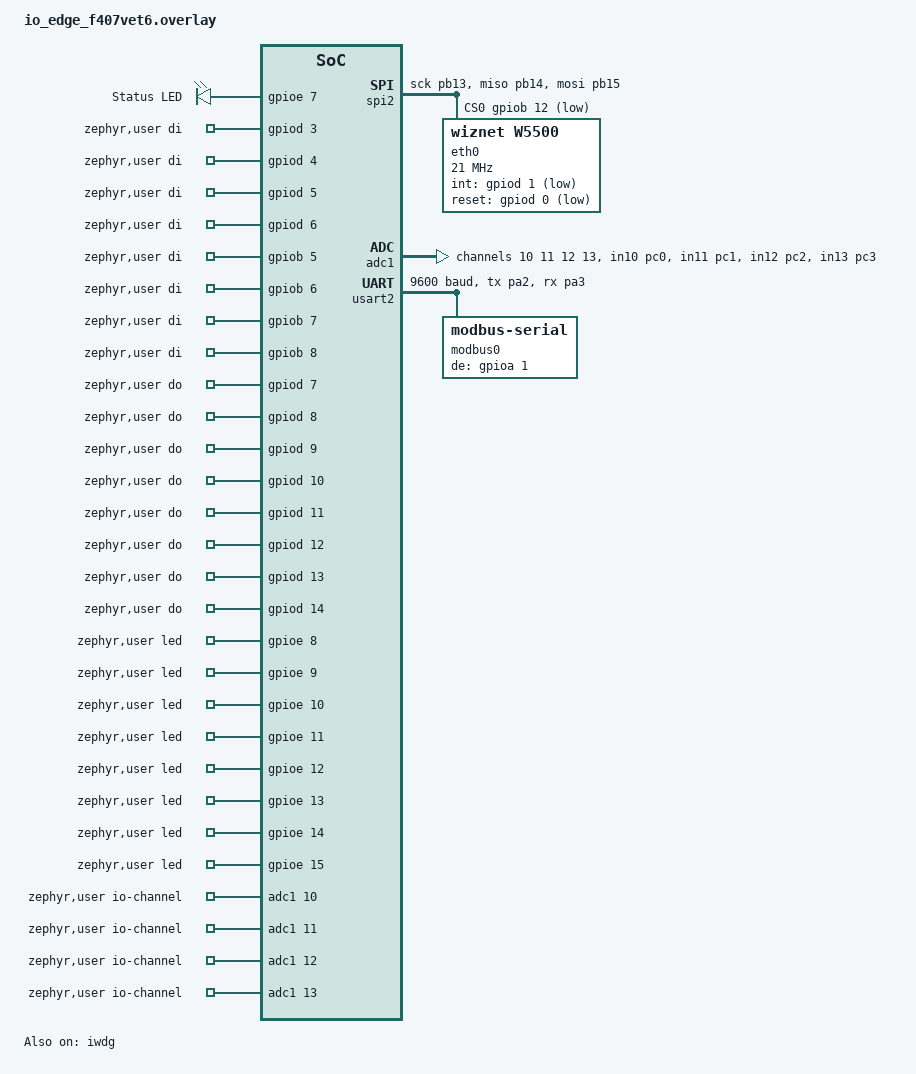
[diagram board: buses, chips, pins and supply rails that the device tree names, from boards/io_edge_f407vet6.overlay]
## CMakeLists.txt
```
# SPDX-License-Identifier: Apache-2.0

cmake_minimum_required(VERSION 3.20.0)

find_package(Zephyr REQUIRED HINTS $ENV{ZEPHYR_BASE})
project(io_edge_hub)

target_include_directories(app PRIVATE include src/sys src/storage src/ftp_server src/web)

target_sources(app PRIVATE
  src/main.c
  src/fw_upgrade_state.c
  src/io/dio.c
  src/io/adc.c
  src/history/history.c
  src/settings/init.c
  src/modbus/function.c
  src/modbus/tcp.c
  src/modbus/rtu.c
  src/udp.c
  src/can.c
  src/storage/fs_littlefs.c
  src/sys/time.c
  src/sys/watchdog.c
  src/ftp_server/ftpd.c
)

# 临时带宽测试端点: 仅在 CONFIG_IO_BW_TEST 启用时编译
target_sources_ifdef(CONFIG_IO_BW_TEST app PRIVATE src/bwtest.c)

# 应用调试 shell (io 命令), 依赖 SHELL (release 下自动裁剪)
target_sources_ifdef(CONFIG_IO_SHELL app PRIVATE src/shell.c)

# Web 服务 (HTTP 页面 + REST + WebSocket), CONFIG_IO_WEB 总开关
if(CONFIG_IO_WEB)
  target_sources(app PRIVATE
    src/web/httpd.c
    src/web/ws_io.c
  )

  # Web UI: index.html → minify → gzip → .inc (编译进固件, HTTP 静态资源)
  set(gen_dir ${ZEPHYR_BINARY_DIR}/include/generated)
  set(min_html ${CMAKE_CURRENT_BINARY_DIR}/web_index_min.html)

  add_custom_command(OUTPUT ${min_html}
    COMMAND ${PYTHON_EXECUTABLE} ${CMAKE_CURRENT_SOURCE_DIR}/scripts/minify_html.py
            ${CMAKE_CURRENT_SOURCE_DIR}/src/web/index.html > ${min_html}
    DEPENDS ${CMAKE_CURRENT_SOURCE_DIR}/src/web/index.html
            ${CMAKE_CURRENT_SOURCE_DIR}/scripts/minify_html.py
    COMMENT "Minifying index.html"
  )
  add_custom_target(web_index_min DEPENDS ${min_html})

  generate_inc_file_for_target(app
    ${min_html}
    ${gen_dir}/web_index_html_gz.inc
    --gzip
  )

  # HTTP 资源描述 iterable section (服务 io_web 对应的链接段)
  zephyr_linker_sources(SECTIONS src/web/sections-rom.ld)
endif()
```

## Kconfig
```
# SPDX-License-Identifier: Apache-2.0
# io-edge-hub application configuration

mainmenu "io-edge-hub"

source "Kconfig.zephyr"

# ==================== Modbus 寄存器数量 ====================
config MODBUS_HOLDING_REGISTER_NUMBERS
	int "Number of Modbus holding registers"
	default 18
	help
	  Size of the holding_reg[] array (18 holding registers, see init.h).

config MODBUS_INPUT_REGISTER_NUMBERS
	int "Number of Modbus input registers"
	default 6

# ==================== 线程栈 / 优先级 ====================
config IO_DI_STACK_SIZE
	int "DI sampling thread stack size"
	default 512

config IO_DI_PRIORITY
	int "DI sampling thread priority"
	default 2

config IO_ADC_STACK_SIZE
	int "AI sampling thread stack size"
	default 512

config IO_ADC_PRIORITY
	int "AI sampling thread priority"
	default 2

config IO_MODBUS_TCP_STACK
	int "Modbus TCP server thread stack size"
	default 2048

config IO_MODBUS_TCP_PRIORITY
	int "Modbus TCP server thread priority"
	default 13

config IO_MODBUS_TCP_SESSION_TIMEOUT
	bool "Close idle Modbus TCP client sessions"
	default n
	help
	  Enable application-level session timeout: client connections
	  idle for more than 60s are closed by the server. Disabled by
	  default; idle connections are then only handled by TCP
	  keepalive (SO_KEEPALIVE, ~45s probe cycle). Enable only if a
	  master misbehaves and holds connections without keepalive
	  support.

config IO_FTP_STACK_SIZE
	int "FTP server thread stack size"
	default 4096

config IO_FTP_PRIORITY
	int "FTP server thread priority"
	default 13

# ==================== SYS_INIT 优先级 ====================
config IO_INIT_PRIORITY_SETTINGS
	int "Settings subsystem init priority"
	default 8

config IO_INIT_PRIORITY_CAN
	int "CAN app handler init priority"
	default 10

config IO_INIT_PRIORITY_DIO
	int "Digital IO init priority"
	default 12

config IO_INIT_PRIORITY_ADC
	int "ADC init priority"
	default 12

config IO_INIT_PRIORITY_RTU
	int "Modbus RTU init priority"
	default 13

config IO_INIT_PRIORITY_CLOCK
	int "RTC clock init priority"
	default 41

config IO_INIT_PRIORITY_WATCHDOG
	int "Watchdog init priority"
	default 50

config IO_INIT_PRIORITY_WS
	int "WebSocket slots init priority"
	default 60

config IO_INIT_PRIORITY_UDP
	int "UDP app handler init priority"
	default 80

config IO_INIT_PRIORITY_LITTLEFS
	int "LittleFS init priority"
	default 99

config IO_INIT_PRIORITY_HIST_WORKQ
	int "History work queue init priority"
	default 5

config IO_INIT_PRIORITY_FW_UPGRADE
	int "Firmware upgrade mutex init priority"
	default 3

# ==================== Web 服务 (HTTP + WebSocket) ====================
menuconfig IO_WEB
	bool "Enable web UI (HTTP server + REST API + WebSocket)"
	default y
	select HTTP_SERVER
	select HTTP_SERVER_WEBSOCKET
	help
	  Web management interface: embedded SPA page, REST API
	  (/api/*), WebSocket realtime push (/ws) and HTTP firmware
	  upgrade. Disable to shrink image/RAM (~100KB flash, ~30KB RAM).

if IO_WEB

config IO_WEB_PORT
	int "Web server HTTP port"
	default 80
	help
	  HTTP server listen port for the web UI and REST API.

config IO_WEB_WS_HANDLERS
	int "Number of concurrent WebSocket connections"
	default 1
	range 1 2
	help
	  Note the HTTP server websocket resource uses one shared parsing
	  buffer, so concurrent connections must be limited to 1.

config IO_WEB_WS_STACK_SIZE
	int "WebSocket handler thread stack size"
	default 2048
	help
	  websocket_send_msg/recv_msg call chain is deep (PSA SHA-1,
	  TCP retry). 1152 causes stack canary fault -> warm reboot.

# ---- Zephyr HTTP 服务器参数覆盖 (默认值偏大, 按本应用裁剪省 RAM) ----

config HTTP_SERVER_VERSION_1
	default y

config HTTP_SERVER_VERSION_2
	default n

config HTTP_SERVER_MAX_CLIENTS
	default 4

config HTTP_SERVER_MAX_STREAMS
	default 1

config HTTP_SERVER_HUFFMAN_DECODE_BUFFER_SIZE
	default 64

config HTTP_SERVER_CLIENT_BUFFER_SIZE
	default 512

config HTTP_SERVER_CLIENT_INACTIVITY_TIMEOUT
	default 120

config HTTP_SERVER_STACK_SIZE
	default 4096

config HTTP_SERVER_MAX_URL_LENGTH
	default 96

config HTTP_SERVER_MAX_CONTENT_TYPE_LENGTH
	default 48

endif # IO_WEB

# ==================== 应用调试 shell ====================
config IO_SHELL
	bool "Enable 'io' application shell commands"
	depends on SHELL
	default y
	help
	  Debug shell (root command 'io') for DI/DO/AI inspection,
	  DO control, RS485/CAN/IP configuration, register access and
	  basic device info. Writes share the same code path as
	  Modbus/Web/UDP. Automatically disabled in release builds
	  (CONFIG_SHELL=n).

# ==================== 带宽测试 (临时, 测完移除) ====================
config IO_BW_TEST
	bool "Enable temporary TCP echo bandwidth test endpoint"
	default n
	help
	  Temporary raw-TCP throughput measurement (echo on port 9900).
	  For measurement only, no auth; remove after use.

config IO_BW_TEST_PORT
	int "BW test TCP port"
	default 9900
	depends on IO_BW_TEST
```

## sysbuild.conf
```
SB_CONFIG_BOOTLOADER_MCUBOOT=y

# MCUboot 升级模式: SWAP_SCRATCH (支持回滚, 与 n2e-gw / angle-handler 一致)
SB_CONFIG_MCUBOOT_MODE_SWAP_SCRATCH=y

# 签名密钥 (每个应用独立 RSA-2048)
SB_CONFIG_BOOT_SIGNATURE_KEY_FILE="${APP_DIR}/boards/${BOARD}.pem"
SB_CONFIG_BOOT_SIGNATURE_TYPE_RSA=y
```

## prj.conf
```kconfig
# ==================== 基础配置 ====================
CONFIG_MAIN_STACK_SIZE=2048
CONFIG_HEAP_MEM_POOL_SIZE=16384
CONFIG_MULTITHREADING=y
CONFIG_SYSTEM_WORKQUEUE_STACK_SIZE=2048
CONFIG_POSIX_API=y

# ==================== 硬件驱动 ====================
CONFIG_GPIO=y
CONFIG_ADC=y
CONFIG_ADC_STM32=y
CONFIG_SPI=y
CONFIG_SPI_STM32=y
CONFIG_FLASH=y
CONFIG_FLASH_MAP=y
CONFIG_SPI_NOR=y
CONFIG_CAN=y
CONFIG_CAN_STM32_BXCAN=y
CONFIG_CLOCK_CONTROL=y
CONFIG_HWINFO=y

# ==================== 文件系统 ====================
CONFIG_FILE_SYSTEM=y
CONFIG_FILE_SYSTEM_LITTLEFS=y
CONFIG_FILE_SYSTEM_MKFS=y
CONFIG_FS_LITTLEFS_NUM_FILES=4
CONFIG_FS_LITTLEFS_NUM_DIRS=4
CONFIG_FS_LITTLEFS_CACHE_SIZE=1024

# ==================== 参数持久化 (settings + FCB, 直接映射 holding_reg) ====================
CONFIG_SETTINGS=y
CONFIG_SETTINGS_RUNTIME=y
CONFIG_FCB=y

# ==================== 网络 (静态 IP, 无 DHCP) ====================
CONFIG_NETWORKING=y
CONFIG_NET_IPV4=y
CONFIG_NET_IPV6=n
CONFIG_NET_TCP=y
CONFIG_NET_UDP=y
CONFIG_NET_SOCKETS=y
CONFIG_NET_MAX_CONN=20
CONFIG_NET_MAX_CONTEXTS=20
CONFIG_ZVFS_POLL_MAX=20
# ===== 网络缓冲 (带宽测试调大) =====
CONFIG_NET_PKT_RX_COUNT=16
CONFIG_NET_PKT_TX_COUNT=16
CONFIG_NET_BUF_RX_COUNT=16
CONFIG_NET_BUF_TX_COUNT=16
CONFIG_NET_BUF_DATA_SIZE=1024
CONFIG_NET_PKT_DTCM=y
CONFIG_NET_CONNECTION_MANAGER=y
CONFIG_NET_MGMT=y
CONFIG_NET_MGMT_EVENT=y
CONFIG_NET_MGMT_EVENT_STACK_SIZE=1024
CONFIG_NET_L2_ETHERNET=y
CONFIG_NET_ARP=y
# W5500 由设备树 wiznet,w5500 节点自动拉起, 无需显式 CONFIG_ETH_W5500

# 静态 IP: 禁 DHCP, 禁自动启动 (允许 net_if_up 前设 MAC)
CONFIG_NET_DHCPV4=n
CONFIG_ETH_NET_IF_NO_AUTO_START=y
CONFIG_NET_L2_ETHERNET_MGMT=y
CONFIG_ENTROPY_GENERATOR=y

# ==================== Modbus (RAW ADU TCP + RTU) ====================
CONFIG_MODBUS=y
CONFIG_MODBUS_ROLE_SERVER=y
CONFIG_MODBUS_RAW_ADU=y
CONFIG_MODBUS_NUMOF_RAW_ADU=1

# TCP Keepalive 检测主站连接存活 (取代应用层心跳):
# 空闲 30s 后每 5s 发探测, 连续 3 次无响应则判定连接断开
CONFIG_NET_TCP_KEEPALIVE=y
CONFIG_NET_TCP_KEEPIDLE_DEFAULT=30
CONFIG_NET_TCP_KEEPINTVL_DEFAULT=5
CONFIG_NET_TCP_KEEPCNT_DEFAULT=3

# ==================== Web 服务 (HTTP 页面 + REST API + WebSocket) ====================
# 总开关: y 时编译 web 相关代码 (页面/API/WS/HTTP 升级), n 时完全不编
# (省约 63KB Flash + 25KB RAM)。固件升级仍可用 UDP/CAN 通道。
CONFIG_IO_WEB=y

# ==================== 固件升级 (共享库, SYS_INIT 自启动) ====================
CONFIG_UDP_FW_UPGRADE=y
CONFIG_UDP_FW_CONFIG_PORT=8600
CONFIG_UDP_FW_DATA_V2_CHUNK=1400
# RX 线程内会调 settings_save() (NVS/flash 驱动链), 1024 会栈溢出
CONFIG_UDP_FW_RX_STACK_SIZE=2048
CONFIG_UDP_FW_RX_PRIORITY=1
CONFIG_UDP_FW_UPGRADE_MAX_HANDLERS=4
CONFIG_UDP_FW_REPLY_BCAST_RESTRICT=y

CONFIG_CAN_FW_UPGRADE=y
CONFIG_CAN_FW_UPGRADE_BITRATE=250000
CONFIG_CAN_FW_UPGRADE_RX_STACK_SIZE=2048
CONFIG_CAN_FW_UPGRADE_RX_PRIORITY=1
CONFIG_CAN_FW_UPGRADE_MAX_HANDLERS=4

CONFIG_IMG_MANAGER=y
CONFIG_STREAM_FLASH=y
CONFIG_REBOOT=y
CONFIG_CRC=y

# ==================== MCUboot ====================
CONFIG_BOOTLOADER_MCUBOOT=y
CONFIG_MCUBOOT_IMG_MANAGER=y

# ==================== 时间同步 (RTC) ====================
CONFIG_RTC=y
CONFIG_RTC_STM32=y

# ==================== 看门狗 ====================
CONFIG_WATCHDOG=y

# ==================== 日志 ====================
CONFIG_LOG=y
CONFIG_LOG_BUFFER_SIZE=4096
CONFIG_LOG_DEFAULT_LEVEL=3
CONFIG_LOG_TIMESTAMP_USE_REALTIME=y
CONFIG_POSIX_C_LANG_SUPPORT_R=y
CONFIG_LOG_OUTPUT_FORMAT_DATE_TIMESTAMP=y
CONFIG_LOG_OUTPUT_TIMEZONE_OFFSET=8

# ==================== 调试 ====================
CONFIG_THREAD_NAME=y
CONFIG_THREAD_MONITOR=y
CONFIG_THREAD_STACK_INFO=y
CONFIG_SHELL=y
CONFIG_SHELL_BACKEND_SERIAL=y
CONFIG_SHELL_VT100_COLORS=y
CONFIG_SHELL_TAB=y
CONFIG_NET_SHELL=y
CONFIG_FLASH_SHELL=y
CONFIG_FLASH_MAP_SHELL=y
CONFIG_RTC_SHELL=y
CONFIG_SETTINGS_SHELL=y
CONFIG_FAULT_DUMP=2
```

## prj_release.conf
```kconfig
# io-edge-hub 发布模式配置 (替换 prj.conf: -DCONF_FILE=prj_release.conf)
# 关闭 LOG/SHELL/调试, 精简网络缓冲, 减小镜像体积。功能配置与 prj.conf 一致。

# ==================== 基础配置 ====================
CONFIG_MAIN_STACK_SIZE=2048
CONFIG_HEAP_MEM_POOL_SIZE=16384
CONFIG_MULTITHREADING=y
CONFIG_SYSTEM_WORKQUEUE_STACK_SIZE=2048
CONFIG_POSIX_API=y
CONFIG_COMMON_LIBC_MALLOC_ARENA_SIZE=0

# ==================== 硬件驱动 ====================
CONFIG_GPIO=y
CONFIG_ADC=y
CONFIG_ADC_STM32=y
CONFIG_SPI=y
CONFIG_SPI_STM32=y
CONFIG_FLASH=y
CONFIG_FLASH_MAP=y
CONFIG_SPI_NOR=y
CONFIG_CAN=y
CONFIG_CAN_STM32_BXCAN=y
CONFIG_CLOCK_CONTROL=y
CONFIG_HWINFO=y

# ==================== 文件系统 ====================
CONFIG_FILE_SYSTEM=y
CONFIG_FILE_SYSTEM_LITTLEFS=y
CONFIG_FILE_SYSTEM_MKFS=y
CONFIG_FS_LITTLEFS_NUM_FILES=4
CONFIG_FS_LITTLEFS_NUM_DIRS=4
CONFIG_FS_LITTLEFS_CACHE_SIZE=1024

# ==================== 参数持久化 ====================
CONFIG_SETTINGS=y
CONFIG_SETTINGS_RUNTIME=y
CONFIG_FCB=y

# ==================== 网络 (静态 IP, 无 DHCP) ====================
CONFIG_NETWORKING=y
CONFIG_NET_IPV4=y
CONFIG_NET_IPV6=n
CONFIG_NET_TCP=y
CONFIG_NET_UDP=y
CONFIG_NET_SOCKETS=y
CONFIG_NET_MAX_CONN=20
CONFIG_NET_MAX_CONTEXTS=20
CONFIG_ZVFS_POLL_MAX=20
CONFIG_NET_PKT_RX_COUNT=8
CONFIG_NET_PKT_TX_COUNT=8
CONFIG_NET_BUF_RX_COUNT=12
CONFIG_NET_BUF_TX_COUNT=12
CONFIG_NET_BUF_DATA_SIZE=256
CONFIG_NET_PKT_DTCM=y
CONFIG_NET_CONNECTION_MANAGER=y
CONFIG_NET_MGMT=y
CONFIG_NET_MGMT_EVENT=y
CONFIG_NET_MGMT_EVENT_STACK_SIZE=1024
CONFIG_NET_L2_ETHERNET=y
CONFIG_NET_ARP=y
CONFIG_NET_DHCPV4=n
CONFIG_ETH_NET_IF_NO_AUTO_START=y
CONFIG_NET_L2_ETHERNET_MGMT=y
CONFIG_ENTROPY_GENERATOR=y

# ==================== Modbus (RAW ADU TCP + RTU) ====================
CONFIG_MODBUS=y
CONFIG_MODBUS_ROLE_SERVER=y
CONFIG_MODBUS_RAW_ADU=y
CONFIG_MODBUS_NUMOF_RAW_ADU=1

# ==================== Web 服务 (HTTP 页面 + REST API + WebSocket) ====================
CONFIG_IO_WEB=n

# TCP Keepalive 检测主站连接存活 (取代应用层心跳):
# 空闲 30s 后每 5s 发探测, 连续 3 次无响应则判定连接断开
CONFIG_NET_TCP_KEEPALIVE=y
CONFIG_NET_TCP_KEEPIDLE_DEFAULT=30
CONFIG_NET_TCP_KEEPINTVL_DEFAULT=5
CONFIG_NET_TCP_KEEPCNT_DEFAULT=3

# ==================== 固件升级 (共享库) ====================
CONFIG_UDP_FW_UPGRADE=y
CONFIG_UDP_FW_CONFIG_PORT=8600
CONFIG_UDP_FW_RX_STACK_SIZE=1024
CONFIG_UDP_FW_RX_PRIORITY=8
CONFIG_UDP_FW_UPGRADE_MAX_HANDLERS=4
CONFIG_UDP_FW_REPLY_BCAST_RESTRICT=y

CONFIG_CAN_FW_UPGRADE=y
CONFIG_CAN_FW_UPGRADE_BITRATE=250000
CONFIG_CAN_FW_UPGRADE_RX_STACK_SIZE=1024
CONFIG_CAN_FW_UPGRADE_RX_PRIORITY=8
CONFIG_CAN_FW_UPGRADE_MAX_HANDLERS=4

CONFIG_IMG_MANAGER=y
CONFIG_STREAM_FLASH=y
CONFIG_REBOOT=y
CONFIG_CRC=y

# ==================== MCUboot ====================
CONFIG_BOOTLOADER_MCUBOOT=y
CONFIG_MCUBOOT_IMG_MANAGER=y

# ==================== 时间同步 (RTC) ====================
CONFIG_RTC=y
CONFIG_RTC_STM32=y

# ==================== 看门狗 ====================
CONFIG_WATCHDOG=y

# ==================== 发布裁剪 ====================
CONFIG_LOG=n
CONFIG_SHELL=n
CONFIG_THREAD_MONITOR=n
CONFIG_THREAD_NAME=y
CONFIG_THREAD_STACK_INFO=y
CONFIG_FAULT_DUMP=1
```

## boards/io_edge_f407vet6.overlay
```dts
/*
 * io_edge_hub application overlay
 *
 * 应用专属外设 (板 DTS 仅含 MCUboot 共需的 clock/console/flash 分区):
 *   - SPI2 + W5500 以太网 (PB13/14/15, CS=PB12, RST=PD0, INT=PD1)
 *   - ADC1 四通道 (PC0-PC3, IN10-13): AI1/AI2 电流, AI3/AI4 电压
 *   - USART2 + RS485 Modbus RTU (PA2/PA3, DE=PA1)
 *   - CAN1 (PA11/PA12)
 *   - 16 路 DI / 8 路 DO / 8 路 LED (zephyr,user 节点)
 *   - RTC (LSI 驱动) / IWDG 看门狗 / 状态 LED (PE7)
 */

#include <zephyr/dt-bindings/gpio/gpio.h>
#include <zephyr/dt-bindings/adc/adc.h>

/ {
	chosen {
		zephyr,ethernet = &eth0;
		zephyr,entropy = &rng;
		zephyr,settings-partition = &storage_partition;
	};

	aliases {
		led0 = &status_led;
		mcuboot-led0 = &status_led;
		watchdog0 = &iwdg;
	};

	gpio-leds {
		compatible = "gpio-leds";
		/* 状态 LED: MCUboot 引导指示 + 主循环心跳 (PE7, 兼作 ETH 状态) */
		status_led: led_status {
			gpios = <&gpioe 7 GPIO_ACTIVE_HIGH>;
			label = "Status LED";
		};
	};

	zephyr,user {
		/* 16 路 DI (光耦隔离输入, 下拉)
		 * DI1-16: PD3,PD4,PD5,PD6,PB5,PB6,PB7,PB8,
		 *         PB9,PB10,PB11,PD2,PB0,PB1,PB3,PB4
		 */
		di-gpios = <&gpiod 3 (GPIO_ACTIVE_HIGH | GPIO_PULL_DOWN)>,
			   <&gpiod 4 (GPIO_ACTIVE_HIGH | GPIO_PULL_DOWN)>,
			   <&gpiod 5 (GPIO_ACTIVE_HIGH | GPIO_PULL_DOWN)>,
			   <&gpiod 6 (GPIO_ACTIVE_HIGH | GPIO_PULL_DOWN)>,
			   <&gpiob 5 (GPIO_ACTIVE_HIGH | GPIO_PULL_DOWN)>,
			   <&gpiob 6 (GPIO_ACTIVE_HIGH | GPIO_PULL_DOWN)>,
			   <&gpiob 7 (GPIO_ACTIVE_HIGH | GPIO_PULL_DOWN)>,
			   <&gpiob 8 (GPIO_ACTIVE_HIGH | GPIO_PULL_DOWN)>,
			   <&gpiob 9 (GPIO_ACTIVE_HIGH | GPIO_PULL_DOWN)>,
			   <&gpiob 10 (GPIO_ACTIVE_HIGH | GPIO_PULL_DOWN)>,
			   <&gpiob 11 (GPIO_ACTIVE_HIGH | GPIO_PULL_DOWN)>,
			   <&gpiod 2 (GPIO_ACTIVE_HIGH | GPIO_PULL_DOWN)>,
			   <&gpiob 0 (GPIO_ACTIVE_HIGH | GPIO_PULL_DOWN)>,
			   <&gpiob 1 (GPIO_ACTIVE_HIGH | GPIO_PULL_DOWN)>,
			   <&gpiob 3 (GPIO_ACTIVE_HIGH | GPIO_PULL_DOWN)>,
			   <&gpiob 4 (GPIO_ACTIVE_HIGH | GPIO_PULL_DOWN)>;

		/* 8 路 DO (驱动输出): PD7-PD14 */
		do-gpios = <&gpiod 7 GPIO_ACTIVE_HIGH>,
			   <&gpiod 8 GPIO_ACTIVE_HIGH>,
			   <&gpiod 9 GPIO_ACTIVE_HIGH>,
			   <&gpiod 10 GPIO_ACTIVE_HIGH>,
			   <&gpiod 11 GPIO_ACTIVE_HIGH>,
			   <&gpiod 12 GPIO_ACTIVE_HIGH>,
			   <&gpiod 13 GPIO_ACTIVE_HIGH>,
			   <&gpiod 14 GPIO_ACTIVE_HIGH>;

		/* 8 路 LED (跟随 DO): PE8-PE15 */
		led-gpios = <&gpioe 8 GPIO_ACTIVE_HIGH>,
			    <&gpioe 9 GPIO_ACTIVE_HIGH>,
			    <&gpioe 10 GPIO_ACTIVE_HIGH>,
			    <&gpioe 11 GPIO_ACTIVE_HIGH>,
			    <&gpioe 12 GPIO_ACTIVE_HIGH>,
			    <&gpioe 13 GPIO_ACTIVE_HIGH>,
			    <&gpioe 14 GPIO_ACTIVE_HIGH>,
			    <&gpioe 15 GPIO_ACTIVE_HIGH>;

		/* 4 路 AI (ADC1 IN10-13, 对应 &adc1 下 channel@a-d 子节点);
		 * ai-coeffs: 每路工程量转换系数 (放大 1e4 倍, 电流 7.414 / 电压 3.7037),
		 * 与 io-channels 顺序一一对应 */
		io-channels = <&adc1 10>, <&adc1 11>, <&adc1 12>, <&adc1 13>;
		ai-coeffs = <7414>, <7414>, <3704>, <3704>;
	};
};

/* ============================================================
 * SPI2: W5500 以太网 (SCK=PB13, MISO=PB14, MOSI=PB15, CS=PB12)
 * RST=PD0, INT=PD1 (MAC 运行时由 UID 派生, local-mac-address 仅默认)
 * ============================================================ */
&spi2 {
	pinctrl-0 = <&spi2_sck_pb13 &spi2_miso_pb14 &spi2_mosi_pb15>;
	pinctrl-names = "default";
	cs-gpios = <&gpiob 12 (GPIO_ACTIVE_LOW | GPIO_PULL_UP)>;
	status = "okay";

	eth0: w5500@0 {
		compatible = "wiznet,w5500";
		reg = <0>;
		spi-max-frequency = <21000000>;
		int-gpios = <&gpiod 1 (GPIO_ACTIVE_LOW | GPIO_PULL_UP)>;
		reset-gpios = <&gpiod 0 GPIO_ACTIVE_LOW>;
		local-mac-address = [00 08 DC 01 02 03];
		status = "okay";
	};
};

/* ============================================================
 * ADC1: 4 通道模拟输入 (PC0-PC3 = IN10-13)
 * AI0/AI1 电流 4-20mA, AI2/AI3 电压 0-10V。各通道 st,coeff 系数
 * 在 /zephyr,user 的 ai-coeffs 中定义 (与 io-channels 顺序对应)。
 * ============================================================ */
&adc1 {
	status = "okay";
	pinctrl-0 = <&adc1_in10_pc0 &adc1_in11_pc1
		     &adc1_in12_pc2 &adc1_in13_pc3>;
	pinctrl-names = "default";
	st,adc-clock-source = "SYNC";
	st,adc-prescaler = <2>;
	#address-cells = <1>;
	#size-cells = <0>;

	channel@a {
		reg = <0xa>;
		zephyr,gain = "ADC_GAIN_1";
		zephyr,reference = "ADC_REF_INTERNAL";
		zephyr,acquisition-time = <ADC_ACQ_TIME_DEFAULT>;
		zephyr,resolution = <12>;
	};
	channel@b {
		reg = <0xb>;
		zephyr,gain = "ADC_GAIN_1";
		zephyr,reference = "ADC_REF_INTERNAL";
		zephyr,acquisition-time = <ADC_ACQ_TIME_DEFAULT>;
		zephyr,resolution = <12>;
	};
	channel@c {
		reg = <0xc>;
		zephyr,gain = "ADC_GAIN_1";
		zephyr,reference = "ADC_REF_INTERNAL";
		zephyr,acquisition-time = <ADC_ACQ_TIME_DEFAULT>;
		zephyr,resolution = <12>;
	};
	channel@d {
		reg = <0xd>;
		zephyr,gain = "ADC_GAIN_1";
		zephyr,reference = "ADC_REF_INTERNAL";
		zephyr,acquisition-time = <ADC_ACQ_TIME_DEFAULT>;
		zephyr,resolution = <12>;
	};
};


/* ============================================================
 * USART2: RS485 Modbus RTU (TX=PA2, RX=PA3, DE/RE=PA1)
 * ============================================================ */
&usart2 {
	pinctrl-0 = <&usart2_tx_pa2 &usart2_rx_pa3>;
	pinctrl-names = "default";
	current-speed = <9600>;
	status = "okay";

	modbus0 {
		compatible = "zephyr,modbus-serial";
		status = "okay";
		de-gpios = <&gpioa 1 GPIO_ACTIVE_HIGH>;
	};
};

/* ============================================================
 * IWDG: 独立看门狗
 * ============================================================ */
&iwdg {
	status = "okay";
};
```

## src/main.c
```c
/*
 * Copyright (c) 2026 Kabirz.
 * SPDX-License-Identifier: Apache-2.0
 *
 * io_edge-hub 主入口
 *   - MAC 从 STM32 UID 派生 (OUI 00:08:DC)
 *   - 静态 IP (从 holding_reg 读取, settings 已加载)
 *   - NET_EVENT_IF_UP/DOWN 处理 (断连时清零 DO, 拒绝新连接)
 *   - 状态 LED 心跳 + 延迟重启
 *   - 栈溢出保护 (k_sys_fatal_error_handler -> warm reboot)
 *
 * 应用层各模块 (Modbus/FTP/UDP/CAN/DI/AI/历史) 通过 SYS_INIT 或
 * K_THREAD_DEFINE 自启动, main 仅负责网络与状态指示。
 */

#include <string.h>
#include <zephyr/kernel.h>
#include <zephyr/device.h>
#include <zephyr/drivers/gpio.h>
#include <zephyr/drivers/hwinfo.h>
#include <zephyr/app_version.h>
#include <fw_gitver.h>
#include <zephyr/net/net_if.h>
#include <zephyr/net/net_mgmt.h>
#include <zephyr/net/net_event.h>
#include <zephyr/net/ethernet.h>
#include <zephyr/net/ethernet_mgmt.h>
#include <zephyr/posix/arpa/inet.h>
#include <zephyr/sys/reboot.h>
#include <zephyr/logging/log.h>
#include <zephyr/logging/log_ctrl.h>
#include <init.h>
#include "watchdog.h"

#ifndef CONFIG_FLASH_SIZE
#define CONFIG_FLASH_SIZE 0x1000
#endif
#ifndef CONFIG_SRAM_SIZE
#define CONFIG_SRAM_SIZE 0x1000
#endif

LOG_MODULE_REGISTER(io_main, LOG_LEVEL_INF);

/* 网络链路就绪信号量: IF_UP 唤醒 main */
static K_SEM_DEFINE(net_link_sem, 0, 1);
static volatile bool net_link_up;

/* 延迟重启标志 (改参数后刷新日志再重启) */
static volatile bool reboot_pending;

bool net_link_is_up(void)
{
	return net_link_up;
}

void set_reboot_status(bool en)
{
	reboot_pending = en;
}

bool get_reboot_status(void)
{
	return reboot_pending;
}

/* ================================================================
 * 网络事件: IF_UP 唤醒 main; IF_DOWN 清零 DO + 标记链路断开
 * ================================================================
 * Zephyr net_mgmt mask 按 layer 精确匹配, IF_UP/IF_DOWN 同属 L2 可共用。
 */
static void net_if_event_handler(uint64_t mgmt_event, struct net_if *iface, void *info,
				 size_t info_length, void *user_data)
{
	ARG_UNUSED(info);
	ARG_UNUSED(info_length);
	ARG_UNUSED(user_data);
	ARG_UNUSED(iface);

	if (mgmt_event == NET_EVENT_IF_UP) {
		LOG_INF("net link up");
		net_link_up = true;
		k_sem_give(&net_link_sem);
	} else if (mgmt_event == NET_EVENT_IF_DOWN) {
		LOG_WRN("net link down");
		net_link_up = false;
		/* 工业安全: 链路断开立即清零所有 DO 输出 */
		update_holding_reg(HOLDING_DO_IDX, 0);
		mb_set_do(0);
	}
}

NET_MGMT_REGISTER_EVENT_HANDLER(net_if_handler_cb, NET_EVENT_IF_UP | NET_EVENT_IF_DOWN,
				net_if_event_handler, NULL);

/* ================================================================
 * MAC 派生: STM32 96-bit UID 折叠为唯一 MAC (前 3B = Wiznet OUI)
 * ================================================================ */
static void derive_mac_from_uid(uint8_t *mac)
{
	static const uint8_t oui[3] = {0x00, 0x08, 0xDC};
	uint8_t uid[12];
	ssize_t n = hwinfo_get_device_id(uid, sizeof(uid));

	mac[0] = oui[0];
	mac[1] = oui[1];
	mac[2] = oui[2];

	if (n >= (ssize_t)sizeof(uid)) {
		mac[3] = uid[0] ^ uid[3] ^ uid[6] ^ uid[9];
		mac[4] = uid[1] ^ uid[4] ^ uid[7] ^ uid[10];
		mac[5] = uid[2] ^ uid[5] ^ uid[8] ^ uid[11];
	} else {
		mac[3] = 0x01;
		mac[4] = 0x02;
		mac[5] = 0x03;
	}
}

/* ================================================================
 * 网络初始化: 唯一 MAC + 静态 IP (从 holding_reg)
 * ================================================================ */
static int net_init(void)
{
	struct net_if *iface = net_if_get_default();

	if (!iface) {
		LOG_ERR("no network interface");
		return -ENODEV;
	}

	/* MAC: 接口自动 up 已由 CONFIG_ETH_NET_IF_NO_AUTO_START 关闭,
	 * 接口 admin down, SET_MAC_ADDRESS 可直接成功, 之后 net_if_up。 */
	uint8_t mac[NET_ETH_ADDR_LEN];
	struct ethernet_req_params params = {0};

	derive_mac_from_uid(mac);
	memcpy(params.mac_address.addr, mac, NET_ETH_ADDR_LEN);
	if (net_mgmt(NET_REQUEST_ETHERNET_SET_MAC_ADDRESS, iface, &params, sizeof(params)) != 0) {
		LOG_WRN("set MAC failed, using DT default");
	} else {
		LOG_INF("MAC (UID): %02x:%02x:%02x:%02x:%02x:%02x", mac[0], mac[1], mac[2], mac[3],
			mac[4], mac[5]);
	}

	/* 静态 IP: 从 holding_reg 组装; 掩码固定 /24; 网关 = IP 末段改 1 */
	struct in_addr addr, mask, gw;
	uint8_t *a = (uint8_t *)&addr.s_addr;

	a[0] = (uint8_t)get_holding_reg(HOLDING_IP_OCTET1_IDX);
	a[1] = (uint8_t)get_holding_reg(HOLDING_IP_OCTET2_IDX);
	a[2] = (uint8_t)get_holding_reg(HOLDING_IP_OCTET3_IDX);
	a[3] = (uint8_t)get_holding_reg(HOLDING_IP_OCTET4_IDX);

	mask.s_addr = htonl(0xFFFFFF00);
	memcpy(&gw, &addr, sizeof(addr));
	((uint8_t *)&gw.s_addr)[3] = 1;

	net_if_ipv4_addr_add(iface, &addr, NET_ADDR_MANUAL, 0);
	net_if_ipv4_set_netmask_by_addr(iface, &addr, &mask);
	net_if_ipv4_set_gw(iface, &gw);

	char ip_str[INET_ADDRSTRLEN];

	inet_ntop(AF_INET, &addr, ip_str, sizeof(ip_str));
	LOG_INF("IP: %s/24", ip_str);

	net_if_up(iface);
	return 0;
}

/* 栈溢出保护: K_ERR_STACK_CHK_FAIL -> warm reboot */
void k_sys_fatal_error_handler(unsigned int reason, const struct arch_esf *pEsf)
{
	ARG_UNUSED(pEsf);

	if (reason == K_ERR_STACK_CHK_FAIL) {
		LOG_ERR("Stack overflow detected, rebooting");
		sys_reboot(SYS_REBOOT_WARM);
	}

	while (true) {
		/* 其他 fatal: 停机 */
	}
}

int main(void)
{
	LOG_INF("build time: %s %s", __DATE__, __TIME__);
	LOG_INF("board: %s, clk: %dMHz", CONFIG_BOARD_TARGET,
		CONFIG_SYS_CLOCK_HW_CYCLES_PER_SEC / MHZ(1));
	LOG_INF("flash: %dKB, ram: %dKB", CONFIG_FLASH_SIZE, CONFIG_SRAM_SIZE);
	LOG_INF("version: v%d.%d.%d_%s", APP_VERSION_MAJOR, APP_VERSION_MINOR, APP_PATCHLEVEL,
		FW_GIT_VERSION);

	net_init();

	/* 等待 PHY 链路 up (带超时兜底, 网线未插时不永久阻塞) */
	struct net_if *iface = net_if_get_default();

	if (iface != NULL && net_if_oper_state(iface) != NET_IF_OPER_UP) {
		if (k_sem_take(&net_link_sem, K_SECONDS(5)) != 0) {
			LOG_WRN("net link up timeout, continue anyway");
		}
	}

	LOG_INF("io-edge-hub ready");

#ifdef CONFIG_IO_WEB
	/* Web 服务在链路就绪后启动 (SYS_INIT 阶段 iface 未 up) */
	io_web_start();
#endif

	/* 状态 LED 心跳: 300ms on / 2700ms off */
	static const struct gpio_dt_spec status_led =
		GPIO_DT_SPEC_GET(DT_ALIAS(mcuboot_led0), gpios);

	if (gpio_is_ready_dt(&status_led)) {
		gpio_pin_configure_dt(&status_led, GPIO_OUTPUT_INACTIVE);
	}

	while (1) {
		watchdog_feed();

		if (gpio_is_ready_dt(&status_led)) {
			gpio_pin_set_dt(&status_led, 1);
			k_msleep(300);
			gpio_pin_set_dt(&status_led, 0);
			k_msleep(2700);
		} else {
			k_msleep(1000);
		}

		if (get_reboot_status()) {
			LOG_INF("delayed reboot");
			history_sync();
#ifdef CONFIG_LOG
			while (log_process()) {
			}
#endif
			k_msleep(1000);
			sys_reboot(SYS_REBOOT_COLD);
		}
	}

	return 0;
}
```

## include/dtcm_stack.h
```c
/*
 * Copyright (c) 2026 Kabirz.
 * SPDX-License-Identifier: Apache-2.0
 *
 * DTCM (CCM RAM, 0x10000000 64KB) 线程栈放置辅助
 *
 * F407 的 CCM RAM 只挂在 Cortex-M D-Bus, DMA/外设不可见, 但 CPU 栈访问
 * 完全正常。把大栈放这里可腾出等量 SRAM 给网络缓冲 (DMA 路径)。
 *
 * 约束:
 *   - 该栈线程的局部变量不可作为 DMA 缓冲 (本项目 DMA 仅 SPI, 网络数据
 *     都在 net_buf 池, 满足)
 *   - HW_STACK_PROTECTION (MPU) 不覆盖 CCM, 这些栈失去硬件溢出保护,
 *     依赖 K_ERR_STACK_CHK_FAIL 之外的手段 (只搬业务线程, 内核线程不动)
 *   - 板 DTS 需有 ccm0 节点 (zephyr,dtcm = &ccm0), 生成 .dtcm_noinit 段
 */

#ifndef __DTCM_STACK_H__
#define __DTCM_STACK_H__

#include <zephyr/kernel.h>
#include <zephyr/kernel/thread_stack.h>

#ifdef __cplusplus
extern "C" {
#endif

/* 单个栈: DTCM_STACK_DEFINE(sym, size) */
#define DTCM_STACK_DEFINE(sym, size)					\
	struct z_thread_stack_element					\
	__aligned(Z_KERNEL_STACK_OBJ_ALIGN)				\
	__section(".dtcm_noinit")					\
	sym[K_KERNEL_STACK_LEN(size)]

/* 栈数组: DTCM_STACK_ARRAY_DEFINE(sym, n, size) */
#define DTCM_STACK_ARRAY_DEFINE(sym, n, size)				\
	struct z_thread_stack_element					\
	__aligned(Z_KERNEL_STACK_OBJ_ALIGN)				\
	__section(".dtcm_noinit")					\
	sym[n][K_KERNEL_STACK_LEN(size)]

/* 大缓冲/大对象放 DTCM:
 *   DTCM_BSS(name, def)  — 零初始化或带初值均可 (dtcm_data 有 Flash 加载镜像,
 *                           dtcm_bss/noinit 零初始化, 链接器自动归类)
 *   约束: 对象不可进入 DMA 路径 (W5500 SPI2 DMA 的 net_buf 等);
 *         纯 CPU 读写 (协议解析/格式化/状态机) 才可使用。 */
#define DTCM_BSS __section(".dtcm_bss")

/* K_THREAD_DEFINE 的 DTCM 版: 线程对象在 SRAM, 栈在 DTCM.
 * 参数与 K_THREAD_DEFINE 相同。依赖内核内部宏 Z_THREAD_COMMON_DEFINE
 * (kernel.h 内部使用, 无公开替代; 升级 Zephyr 时需复核)。 */
#define K_THREAD_DTCM_DEFINE(name, stack_size, entry, p1, p2, p3,	\
			     prio, options, delay)			\
	DTCM_STACK_DEFINE(_k_thread_stack_##name, stack_size);		\
	Z_THREAD_COMMON_DEFINE(name, stack_size, entry, p1, p2, p3,	\
			       prio, options, delay)

#ifdef __cplusplus
}
#endif

#endif /* __DTCM_STACK_H__ */
```

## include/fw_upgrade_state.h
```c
/*
 * Copyright (c) 2026 Kabirz.
 * SPDX-License-Identifier: Apache-2.0
 *
 * 固件升级互斥状态 - 三个通道 (UDP/CAN/WebSocket) 共享
 * 当其中一个通道正在升级时，其他通道的升级请求应被拒绝。
 */

#ifndef __FW_UPGRADE_STATE_H__
#define __FW_UPGRADE_STATE_H__

#include <stdbool.h>

/* 升级通道标识 */
enum fw_upgrade_channel {
	FW_UPGRADE_CHANNEL_UDP = 0,
	FW_UPGRADE_CHANNEL_CAN,
	FW_UPGRADE_CHANNEL_WS,
};

/**
 * @brief 尝试获取升级锁
 *
 * @param channel 请求升级的通道
 * @return true 获取成功，可以开始升级
 * @return false 已有其他通道正在升级
 */
bool fw_upgrade_try_lock(enum fw_upgrade_channel channel);

/**
 * @brief 释放升级锁
 *
 * @param channel 释放锁的通道
 */
void fw_upgrade_unlock(enum fw_upgrade_channel channel);

/**
 * @brief 检查是否有通道正在升级
 *
 * @return true 有通道正在升级
 * @return false 没有通道在升级
 */
bool fw_upgrade_is_active(void);

#endif /* __FW_UPGRADE_STATE_H__ */
```

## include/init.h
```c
/*
 * Copyright (c) 2026 Kabirz.
 * SPDX-License-Identifier: Apache-2.0
 *
 * io-edge-hub 公共定义: IO 通道数、Modbus 寄存器枚举、历史数据结构、
 * 全局访问函数声明。
 *
 * holding_reg[] / input_reg[] 是唯一的参数与采样数据源:
 *   - settings (FCB) 直接映射 holding_reg[] (modbus/ 命名空间)
 *   - DI/AI 采样线程写入 input_reg[]
 *   - DO 写 holding_reg[0x00] 经回调驱动 GPIO + LED
 */

#ifndef __INIT_H__
#define __INIT_H__

#include <stdint.h>
#include <stdbool.h>
#include <stddef.h>
#include <time.h>

#ifdef __cplusplus
extern "C" {
#endif

/* ==================== IO 通道数量 ==================== */
#define DI_NUM 16 /* 数字输入 */
#define DO_NUM 8  /* 数字输出 */
#define AI_NUM 4  /* 模拟输入 */

/* ==================== Input Registers (只读, 6 个) ==================== */
enum input_reg_idx {
	INPUT_VER_IDX = 0, /* 固件版本 (MAJOR<<12 | MINOR<<8 | PATCH), 主/次<16 */
	INPUT_AI0_IDX,     /* AI1 电流 (0.01mA) */
	INPUT_AI1_IDX,     /* AI2 电流 (0.01mA) */
	INPUT_AI2_IDX,     /* AI3 电压 (0.01V) */
	INPUT_AI3_IDX,     /* AI4 电压 (0.01V) */
	INPUT_DI_IDX,      /* DI1-16 状态 bitmap */
};

/* ==================== Holding Registers (读写, 18 个) ==================== */
enum holding_reg_idx {
	HOLDING_DO_IDX = 0x00,      /* DO1-8 输出控制 */
	HOLDING_DI_ENABLE_IDX,      /* 0x01 DI1-16 使能 */
	HOLDING_AI_ENABLE_IDX,      /* 0x02 AI1-4 使能 */
	HOLDING_DI_SAMPLE_MS_IDX,   /* 0x03 DI 采样间隔 (ms) */
	HOLDING_AI_SAMPLE_MS_IDX,   /* 0x04 AI 采样间隔 (ms) */
	HOLDING_HISTORY_ENABLE_IDX, /* 0x05 历史保存使能 */
	HOLDING_CAN_ID_IDX,         /* 0x06 CAN ID */
	HOLDING_CAN_BAUDRATE_IDX,   /* 0x07 CAN 波特率 (x1000) */
	HOLDING_RS485_BAUDRATE_IDX, /* 0x08 RS485 波特率 */
	HOLDING_SLAVE_ID_IDX,       /* 0x09 Modbus RTU Slave ID */
	HOLDING_IP_OCTET1_IDX,      /* 0x0A IP 段1 */
	HOLDING_IP_OCTET2_IDX,      /* 0x0B IP 段2 */
	HOLDING_IP_OCTET3_IDX,      /* 0x0C IP 段3 */
	HOLDING_IP_OCTET4_IDX,      /* 0x0D IP 段4 */
	HOLDING_TIMESTAMP_HI_IDX,   /* 0x0E 时间戳高16位 */
	HOLDING_TIMESTAMP_LO_IDX,   /* 0x0F 时间戳低16位 */
	HOLDING_CONFIG_SAVE_IDX,    /* 0x10 参数保存触发 */
	HOLDING_REBOOT_IDX,         /* 0x11 写1触发重启 */
};

/* ==================== 历史数据结构 (与 RT-Thread / PC 解析工具兼容) ==================== */
#define DI_TYPE 1
#define AI_TYPE 2

struct his_data {
	uint16_t type;       /* 1=DI, 2=AI */
	uint32_t timestamps; /* Unix 时间戳 */
	union {
		struct {
			uint16_t di_en_status; /* DI 使能 bitmap */
			uint16_t di_value;     /* DI 值 bitmap */
		} di;
		struct {
			uint16_t ai_en_status;     /* AI 使能 bitmap (低4位) */
			uint16_t ai_value[AI_NUM]; /* AI 值数组 */
		} ai;
	};
} __packed;

/* ==================== 寄存器访问 (function.c) ==================== */
uint16_t get_holding_reg(uint16_t addr);
int update_holding_reg(uint16_t addr, uint16_t reg);
uint16_t get_input_reg(uint16_t addr);
int update_input_reg(uint16_t addr, uint16_t reg);

/* 读 holding 寄存器 (与 Modbus FC03 同语义): 时间戳 0x0E/0x0F 返回
 * 实时系统时间, 供 Web /api/regs 与主站读到一致值 */
uint16_t io_read_holding(uint16_t addr);

/* 写 holding 寄存器 (带副作用: DO 输出/历史开关/设时间/保存参数/重启),
 * 与 Modbus FC06/FC16 同语义, 供 Web (HTTP/WS) 共用 */
int io_write_holding(uint16_t addr, uint16_t reg);

/* 单 DO 位写 (加锁读-改-写, 与 Modbus FC05 同语义), bit 0-7 对应 DO1-DO8 */
int io_write_do_bit(uint16_t bit, bool state);

/* 触发参数全量保存到 FCB (供 UDP handler 改参数后持久化) */
void holding_reg_save(void);

/* ==================== IP 合法性校验 ==================== */
/* IPv4 四段是否为可配置的单播地址。拒绝:
 *   - 末字节 0 (网络地址) / 0xFF (广播)
 *   - 首字节 0 (本网络) / 127 (环回) / 224-239 (组播 D 段) / >=240 (保留 E 段)
 */
bool ip_addr_valid(uint8_t a, uint8_t b, uint8_t c, uint8_t d);

/* 出厂恢复: 擦除 settings 分区并重置 holding_reg 为默认值 */
int settings_factory_reset(void);

/* ==================== DO 控制 (dio.c) ==================== */
/* 设置 DO 输出 + LED 联动, val bit0-7 对应 DO1-DO8 */
int mb_set_do(uint16_t val);

/* ==================== 时间管理 (time.c) ==================== */
/* 设置 RTC + 系统时钟 (Modbus 0x0E/0x0F 或 UDP 命令调用).
 * 返回 true=成功, false=参数越界或 RTC 写入失败. */
bool set_timestamp(time_t t);

/* ==================== 历史记录 (history.c) ==================== */
/* 开关历史写入 (holding_reg[0x05] 回调调用) */
void history_enable_write(bool en);
/* 刷出缓存: FTP/HTTP 读文件前调用, 确保数据落盘 */
void history_sync(void);
/* 异步提交一条历史记录 (DI/AI 采样线程调用) */
void send_history_data(const struct his_data *data);

/* ==================== 网络状态 (main.c) ==================== */
/* 网络链路是否就绪 (IF_UP/IF_DOWN 维护) */
bool net_link_is_up(void);

/* ==================== 延迟重启 (main.c) ==================== */
/* 设置延迟重启标志 (主循环刷新日志后重启), 供 UDP 改 IP 等调用 */
void set_reboot_status(bool en);
bool get_reboot_status(void);

/* ==================== Web 服务 (web/httpd.c) ==================== */
#ifdef CONFIG_IO_WEB
/* 启动 HTTP + WebSocket 服务 (main 在网络链路就绪后调用) */
int io_web_start(void);
#endif

#ifdef __cplusplus
}
#endif

#endif /* __INIT_H__ */
```

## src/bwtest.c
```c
/*
 * SPDX-License-Identifier: Apache-2.0
 *
 * 临时网络带宽测试端点 (路线 B): TCP echo server
 *
 *  - 监听 CONFIG_IO_BW_TEST_PORT (默认 9900)
 *  - 单连接: 收多少回显多少 (echo), 用于测量协议栈原始 TCP 吞吐
 *  - Kconfig 开关 CONFIG_IO_BW_TEST, 测完即移除, 不影响正式固件
 *  - 上位机用 python: socat/pv 或自写脚本计速
 *
 * 注意: 仅用于带宽测量, 无认证, 切勿部署到正式环境。
 */

#include <zephyr/kernel.h>
#include <zephyr/net/socket.h>
#include <zephyr/posix/netinet/in.h>
#include <zephyr/posix/sys/socket.h>
#include <zephyr/posix/sys/select.h>
#include <zephyr/posix/unistd.h>
#include <zephyr/logging/log.h>

LOG_MODULE_REGISTER(io_bwtest, LOG_LEVEL_INF);

#define BW_BUF_SIZE 4096

static void bw_echo_thread(void *p1, void *p2, void *p3)
{
	ARG_UNUSED(p1);
	ARG_UNUSED(p2);
	ARG_UNUSED(p3);

	int serv = socket(AF_INET, SOCK_STREAM, IPPROTO_TCP);

	if (serv < 0) {
		LOG_ERR("socket failed: %d", errno);
		return;
	}

	int opt = 1;

	(void)setsockopt(serv, SOL_SOCKET, SO_REUSEADDR, &opt, sizeof(opt));

	struct sockaddr_in addr = {
		.sin_family = AF_INET,
		.sin_addr.s_addr = htonl(INADDR_ANY),
		.sin_port = htons(CONFIG_IO_BW_TEST_PORT),
	};

	if (bind(serv, (struct sockaddr *)&addr, sizeof(addr)) < 0 || listen(serv, 1) < 0) {
		LOG_ERR("bind/listen failed: %d", errno);
		close(serv);
		return;
	}

	LOG_INF("BW test echo server on port %d", CONFIG_IO_BW_TEST_PORT);

	while (1) {
		int c = accept(serv, NULL, NULL);

		if (c < 0) {
			continue;
		}
		LOG_INF("BW test client connected");

		/* 模式: 首个字节 'R' = 只收不回 (测设备接收/下行);
		 * 其他 = echo 回显 (测双向) */
		uint8_t mode = 0;
		ssize_t first = recv(c, &mode, 1, 0);

		if (first != 1 || mode == 'R') {
			/* 只收模式: 吸流直到关闭 */
			static uint8_t sink[4096];
			ssize_t n;

			while ((n = recv(c, sink, sizeof(sink), 0)) > 0) {
				/* 丢弃 */
			}
			LOG_INF("BW sink done");
			close(c);
			continue;
		}

		/* echo 模式: 收多少回多少 */
		static uint8_t buf[4096];
		ssize_t n;

		while ((n = recv(c, buf, sizeof(buf), 0)) > 0) {
			ssize_t off = 0;

			while (off < n) {
				ssize_t w = send(c, buf + off, n - off, 0);

				if (w < 0) {
					goto done;
				}
				off += w;
			}
		}
done:
		LOG_INF("BW test client done");
		close(c);
	}
}

K_THREAD_DEFINE(bw_test, 4096, bw_echo_thread, NULL, NULL, NULL, 15, 0, 0);
```

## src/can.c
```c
/*
 * Copyright (c) 2026 Kabirz.
 * SPDX-License-Identifier: Apache-2.0
 *
 * CAN 业务帧处理 (CAN1)
 *
 *   - can_fw_upgrade 库 (SYS_INIT) 初始化 CAN + 拥有 RX 线程, 处理固件升级帧
 *     (0x101-0x105); 其他帧分发给本模块的 mod_can_app_rx。
 *   - 业务帧 ID = holding_reg[CAN_ID] (默认 0x0111)。
 *   - 提供 mod_can_send() 供应用发送业务帧。
 */

#include <string.h>
#include <zephyr/kernel.h>
#include <zephyr/drivers/can.h>
#include <zephyr/logging/log.h>
#include <can_fw_upgrade.h>
#include <init.h>
#include "can.h"

LOG_MODULE_REGISTER(io_can, LOG_LEVEL_INF);

static const struct device *can_dev;

static void mod_can_tx_cb(const struct device *dev, int error, void *user_data)
{
	ARG_UNUSED(dev);
	ARG_UNUSED(user_data);
	if (error) {
		LOG_WRN("CAN tx error: %d", error);
	}
}

int mod_can_send(uint32_t id, const uint8_t *data, uint8_t len)
{
	if (can_dev == NULL || len > 8) {
		return -EINVAL;
	}

	struct can_frame frame = {
		.id = id,
		.dlc = can_bytes_to_dlc(len),
	};

	memcpy(frame.data, data, len);
	return can_send(can_dev, &frame, K_MSEC(100), mod_can_tx_cb, NULL);
}

/* 业务帧回调 (库 RX 线程上下文) */
static bool mod_can_app_rx(struct can_frame *frame, void *user_data)
{
	ARG_UNUSED(user_data);

	if (frame->id == get_holding_reg(HOLDING_CAN_ID_IDX)) {
		LOG_DBG("CAN business frame id=0x%03x dlc=%u", frame->id, frame->dlc);
		/* 业务帧处理预留 (本项目 CAN 主要用于固件升级) */
		return true;
	}
	return false;
}

static int can_app_init(void)
{
	can_dev = can_fw_set_app_handler(mod_can_app_rx, NULL);
	if (can_dev == NULL) {
		LOG_ERR("CAN app handler registration failed");
		return -ENODEV;
	}
	LOG_INF("CAN app handler ready (bus id=0x%03x)", get_holding_reg(HOLDING_CAN_ID_IDX));
	return 0;
}

SYS_INIT(can_app_init, APPLICATION, CONFIG_IO_INIT_PRIORITY_CAN);
```

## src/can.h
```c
/*
 * Copyright (c) 2026 Kabirz.
 * SPDX-License-Identifier: Apache-2.0
 *
 * CAN 业务帧接口 (固件升级帧 0x101-0x105 由 can_fw_upgrade 库处理)
 */

#ifndef __CAN_H__
#define __CAN_H__

#include <stdint.h>

/* 发送一帧业务 CAN 数据 (id 从 holding_reg[CAN_ID] 或调用方指定) */
int mod_can_send(uint32_t id, const uint8_t *data, uint8_t len);

#endif /* __CAN_H__ */
```

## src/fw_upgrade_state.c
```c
/*
 * Copyright (c) 2026 Kabirz.
 * SPDX-License-Identifier: Apache-2.0
 *
 * 固件升级互斥状态 - 三个通道 (UDP/CAN/WebSocket) 共享
 */

#include "fw_upgrade_state.h"
#include <zephyr/kernel.h>
#include <udp_fw_upgrade.h>
#include <can_fw_upgrade.h>

static enum fw_upgrade_channel current_channel = FW_UPGRADE_CHANNEL_UDP;
static bool upgrade_active = false;
static struct k_mutex lock;

static bool fw_pre_start_hook(void)
{
	return fw_upgrade_try_lock(FW_UPGRADE_CHANNEL_UDP);
}

/* UDP 库会话失败 (擦除/写入/校验失败) 时释放锁; FW_END 成功不回调,
 * 锁保持占用直到重启, 防其他通道在重启窗口内抢占擦 slot1 */
static void fw_fail_hook(void)
{
	fw_upgrade_unlock(FW_UPGRADE_CHANNEL_UDP);
}

static int fw_upgrade_state_init(void)
{
	k_mutex_init(&lock);
	udp_fw_add_pre_start_hook(fw_pre_start_hook);
	udp_fw_add_fail_hook(fw_fail_hook);
	can_fw_add_pre_start_hook(fw_pre_start_hook);
	return 0;
}

SYS_INIT(fw_upgrade_state_init, APPLICATION, CONFIG_IO_INIT_PRIORITY_FW_UPGRADE);

bool fw_upgrade_try_lock(enum fw_upgrade_channel channel)
{
	k_mutex_lock(&lock, K_FOREVER);
	if (upgrade_active) {
		k_mutex_unlock(&lock);
		return false;
	}
	upgrade_active = true;
	current_channel = channel;
	k_mutex_unlock(&lock);
	return true;
}

void fw_upgrade_unlock(enum fw_upgrade_channel channel)
{
	k_mutex_lock(&lock, K_FOREVER);
	if (current_channel == channel) {
		upgrade_active = false;
	}
	k_mutex_unlock(&lock);
}

bool fw_upgrade_is_active(void)
{
	k_mutex_lock(&lock, K_FOREVER);
	bool active = upgrade_active;
	k_mutex_unlock(&lock);
	return active;
}
```

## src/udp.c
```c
/*
 * Copyright (c) 2026 Kabirz.
 * SPDX-License-Identifier: Apache-2.0
 *
 * UDP 应用命令处理 (配置端口 8600, 由 udp_fw_upgrade 库 RX 线程分发)
 *
 * 命令 (见 udp.h): SET/GET IP、SET/GET MODBUS (slave_id+rs485_baud)、SET_TIME,
 * FACTORY_RESET。固件升级命令 (0x01-0x05) 由库内部处理。回复经
 * udp_fw_reply() (库 RX 线程内同步 sendto, 缓冲 64B, 数据 <=63B)。
 * SET 类命令改 holding_reg[] 后 holding_reg_save() 持久化。
 */

#include <zephyr/kernel.h>
#include <zephyr/sys/byteorder.h>
#include <zephyr/sys/reboot.h>
#include <zephyr/logging/log.h>
#include <zephyr/logging/log_ctrl.h>
#include <udp_fw_upgrade.h>
#include <init.h>
#include "udp.h"

LOG_MODULE_REGISTER(io_udp, LOG_LEVEL_INF);

/* Factory reset confirmation: require two commands within 5 seconds */
static int64_t factory_reset_pending_ms;
static bool factory_reset_confirmed;

static bool app_cmd_handler(uint8_t cmd, const uint8_t *data, size_t len, void *user_data)
{
	ARG_UNUSED(user_data);

	switch (cmd) {
	case UDP_CMD_SET_IP: {
		uint8_t ok = 0;

		if (len >= 4 && ip_addr_valid(data[0], data[1], data[2], data[3])) {
			update_holding_reg(HOLDING_IP_OCTET1_IDX, data[0]);
			update_holding_reg(HOLDING_IP_OCTET2_IDX, data[1]);
			update_holding_reg(HOLDING_IP_OCTET3_IDX, data[2]);
			update_holding_reg(HOLDING_IP_OCTET4_IDX, data[3]);
			holding_reg_save();
			LOG_INF("SET_IP %u.%u.%u.%u (manual reboot required to apply)", data[0],
				data[1], data[2], data[3]);
			ok = 1;
		}
		udp_fw_reply(cmd, &ok, sizeof(ok));
		return true;
	}

	case UDP_CMD_GET_IP: {
		uint8_t buf[4];

		buf[0] = (uint8_t)get_holding_reg(HOLDING_IP_OCTET1_IDX);
		buf[1] = (uint8_t)get_holding_reg(HOLDING_IP_OCTET2_IDX);
		buf[2] = (uint8_t)get_holding_reg(HOLDING_IP_OCTET3_IDX);
		buf[3] = (uint8_t)get_holding_reg(HOLDING_IP_OCTET4_IDX);
		udp_fw_reply(cmd, buf, sizeof(buf));
		return true;
	}

	case UDP_CMD_SET_MODBUS: {
		/* slave_id(1B) + rs485_baud(2B): 与 holding_reg 16 位存储宽度一致
		 * (原 4B 协议会把 >65535 的波特率截断成错误值) */
		if (len >= 3) {
			update_holding_reg(HOLDING_SLAVE_ID_IDX, data[0]);
			update_holding_reg(HOLDING_RS485_BAUDRATE_IDX, sys_get_be16(&data[1]));
			holding_reg_save();
		}
		uint8_t ok = (len >= 3) ? 1 : 0;

		udp_fw_reply(cmd, &ok, sizeof(ok));
		return true;
	}

	case UDP_CMD_GET_MODBUS: {
		uint8_t buf[3];

		buf[0] = (uint8_t)get_holding_reg(HOLDING_SLAVE_ID_IDX);
		sys_put_be16(get_holding_reg(HOLDING_RS485_BAUDRATE_IDX), &buf[1]);
		udp_fw_reply(cmd, buf, sizeof(buf));
		return true;
	}

	case UDP_CMD_SET_TIME: {
		/* unix 时间戳 (4B 大端) → set_timestamp 设置 RTC + 系统时钟 */
		uint8_t ok = 0;

		if (len >= 4) {
			ok = set_timestamp((time_t)sys_get_be32(data)) ? 1 : 0;
		}
		udp_fw_reply(cmd, &ok, sizeof(ok));
		return true;
	}

	case UDP_CMD_FACTORY_RESET: {
		/* Two-step confirmation: first cmd sets pending, second within 5s executes */
		int64_t now = k_uptime_get();

		if (!factory_reset_confirmed) {
			if ((now - factory_reset_pending_ms) > 5000) {
				/* First cmd or timeout: set pending */
				factory_reset_pending_ms = now;
				factory_reset_confirmed = false;
				uint8_t ok = 0;

				udp_fw_reply(cmd, &ok, sizeof(ok));
				LOG_INF("FACTORY_RESET: send again within 5s to confirm");
			} else {
				/* Second cmd within 5s: confirm and execute */
				factory_reset_confirmed = true;
			}
		}

		if (factory_reset_confirmed) {
			uint8_t ok = (settings_factory_reset() == 0) ? 1 : 0;

			udp_fw_reply(cmd, &ok, sizeof(ok));
			if (ok) {
				/* 排空 deferred 日志缓冲再重启 */
				history_sync();
#ifdef CONFIG_LOG
				while (log_process()) {
				}
#endif
				k_msleep(100);
				sys_reboot(SYS_REBOOT_COLD);
			}
			factory_reset_confirmed = false;
		}
		return true;
	}

	default:
		return false;
	}
}

static int udp_app_init(void)
{
	udp_fw_set_app_handler(app_cmd_handler, NULL);
	udp_fw_allow_broadcast_cmd(UDP_CMD_GET_IP);
	LOG_INF("UDP app handler registered (port %d)", CONFIG_UDP_FW_CONFIG_PORT);
	return 0;
}

/* 库 udp_fw_upgrade SYS_INIT priority 90; app handler 需在其前注册 */
SYS_INIT(udp_app_init, APPLICATION, CONFIG_IO_INIT_PRIORITY_UDP);
```

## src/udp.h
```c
/*
 * Copyright (c) 2026 Kabirz.
 * SPDX-License-Identifier: Apache-2.0
 *
 * UDP 应用命令码 (配置端口 8600, app handler 处理 0x10+; 0x01-0x05 由库处理)
 */

#ifndef __UDP_H__
#define __UDP_H__

enum udp_app_cmd {
	UDP_CMD_SET_IP		= 0x10,
	UDP_CMD_GET_IP		= 0x11,
	UDP_CMD_SET_MODBUS	= 0x12,
	UDP_CMD_GET_MODBUS	= 0x13,
	UDP_CMD_SET_TIME	= 0x14,
	UDP_CMD_FACTORY_RESET	= 0x19,
};

#endif /* __UDP_H__ */
```
